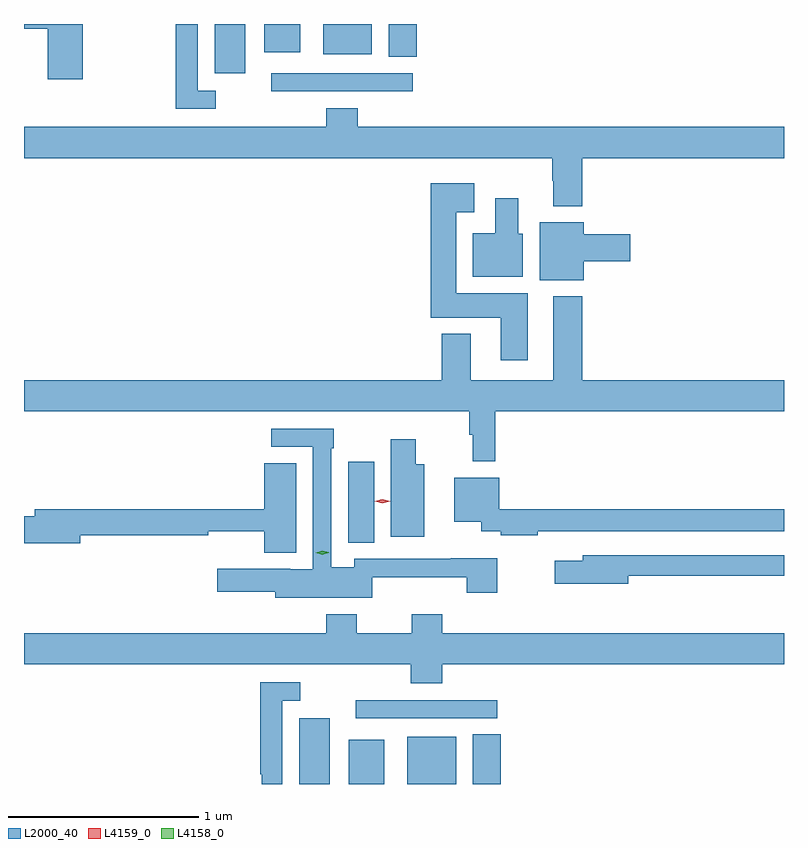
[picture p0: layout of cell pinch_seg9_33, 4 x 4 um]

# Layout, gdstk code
import gdstk
lib = gdstk.Library(unit=1e-6, precision=1e-09)
def R(c, l, rs):  # rectangles x0, y0, x1, y1
    for r in rs: c.add(gdstk.rectangle(r[:2], r[2:], *l))
def P(c, l, *ps):  # polygons
    for p in ps: c.add(gdstk.Polygon(p, *l))
L2000_40 = (2000, 40)
L4158_0 = (4158, 0)
L4159_0 = (4159, 0)

pinch_seg9_33 = lib.new_cell('pinch_seg9_33')
R(pinch_seg9_33, L2000_40, [(916.793,1223.762,916.954,1224.109), (917.054,1223.762,917.242,1223.995), (917.363,1223.762,917.62,1224.01), (917.708,1223.762,917.855,1224.023), (917.091,1224.108,917.836,1224.204), (917.051,1225.033,917.188,1225.459), (916.647,1227.408,917.392,1227.504), (916.349,1227.503,916.51,1227.762), (917.264,1227.589,917.411,1227.762), (916.919,1227.602,917.176,1227.762), (916.61,1227.614,916.798,1227.762)])
P(pinch_seg9_33, L2000_40, [(916.354,1227.411),(916.26,1227.411),(916.26,1227.762),(916.144,1227.762),(916.144,1227.315),(916.354,1227.315)],
  [(915.653,1227.762),(915.345,1227.762),(915.345,1227.736),(915.47,1227.736),(915.47,1227.471),(915.653,1227.471)],
  [(918.284,1227.056),(919.345,1227.056),(919.345,1227.22),(917.102,1227.22),(917.102,1227.319),(916.937,1227.319),(916.937,1227.22),(915.345,1227.22),(915.345,1227.056),(918.124,1227.056),(918.124,1226.936),(918.131,1226.936),(918.131,1226.804),(918.284,1226.804)],
  [(917.995,1226.344),(917.62,1226.344),(917.62,1226.771),(917.716,1226.771),(917.716,1226.923),(917.486,1226.923),(917.486,1226.216),(917.855,1226.216),(917.855,1225.992),(917.995,1225.992)],
  [(917.971,1226.658),(917.947,1226.658),(917.947,1226.845),(917.825,1226.845),(917.825,1226.662),(917.708,1226.662),(917.708,1226.432),(917.971,1226.432)],
  [(918.292,1226.513),(918.535,1226.513),(918.535,1226.655),(918.292,1226.655),(918.292,1226.719),(918.059,1226.719),(918.059,1226.414),(918.292,1226.414)],
  [(917.825,1225.724),(919.345,1225.724),(919.345,1225.888),(918.284,1225.888),(918.284,1226.329),(918.131,1226.329),(918.131,1225.888),(917.695,1225.888),(917.695,1226.131),(917.543,1226.131),(917.543,1225.888),(915.345,1225.888),(915.345,1225.724),(917.689,1225.724),(917.689,1225.601),(917.707,1225.601),(917.707,1225.461),(917.825,1225.461)],
  [(917.178,1224.851),(917.675,1224.851),(917.675,1224.768),(917.835,1224.768),(917.835,1224.95),(917.591,1224.95),(917.591,1224.948),(917.082,1224.948),(917.082,1224.904),(916.962,1224.904),(916.962,1225.529),(916.975,1225.529),(916.975,1225.632),(916.647,1225.632),(916.647,1225.536),(916.866,1225.536),(916.866,1224.892),(916.746,1224.892),(916.746,1224.895),(916.362,1224.895),(916.362,1224.773),(916.667,1224.773),(916.667,1224.743),(917.178,1224.743)],
  [(917.452,1225.444),(917.406,1225.444),(917.406,1225.576),(917.276,1225.576),(917.276,1225.064),(917.452,1225.064)],
  [(916.777,1225.451),(916.61,1225.451),(916.61,1225.208),(915.401,1225.208),(915.401,1225.172),(915.345,1225.172),(915.345,1225.03),(915.64,1225.03),(915.64,1225.072),(916.314,1225.072),(916.314,1225.091),(916.61,1225.091),(916.61,1224.98),(916.777,1224.98)],
  [(918.05,1225.092),(919.345,1225.092),(919.345,1225.208),(917.847,1225.208),(917.847,1225.375),(917.609,1225.375),(917.609,1225.142),(917.751,1225.142),(917.751,1225.091),(917.854,1225.091),(917.854,1225.072),(918.05,1225.072)],
  [(918.526,1224.858),(919.345,1224.858),(919.345,1224.966),(918.287,1224.966),(918.287,1224.937),(918.138,1224.937),(918.138,1224.815),(918.526,1224.815)],
  [(917.546,1224.392),(919.345,1224.392),(919.345,1224.556),(917.546,1224.556),(917.546,1224.655),(917.386,1224.655),(917.386,1224.556),(917.097,1224.556),(917.097,1224.655),(916.937,1224.655),(916.937,1224.556),(915.345,1224.556),(915.345,1224.392),(917.381,1224.392),(917.381,1224.293),(917.546,1224.293)],
  [(916.704,1224.2),(916.798,1224.2),(916.798,1224.297),(916.588,1224.297),(916.588,1223.814),(916.596,1223.814),(916.596,1223.762),(916.704,1223.762)])
P(pinch_seg9_33, L4158_0, [(916.915,1224.969),(916.88,1224.978),(916.879,1224.978),(916.88,1224.978),(916.914,1224.989),(916.949,1224.981),(916.949,1224.981),(916.949,1224.98)])
P(pinch_seg9_33, L4159_0, [(917.231,1225.24),(917.191,1225.249),(917.19,1225.25),(917.191,1225.25),(917.231,1225.26),(917.272,1225.25),(917.272,1225.25),(917.272,1225.25)])

lib.write_gds('pinch_seg9_33.gds')
